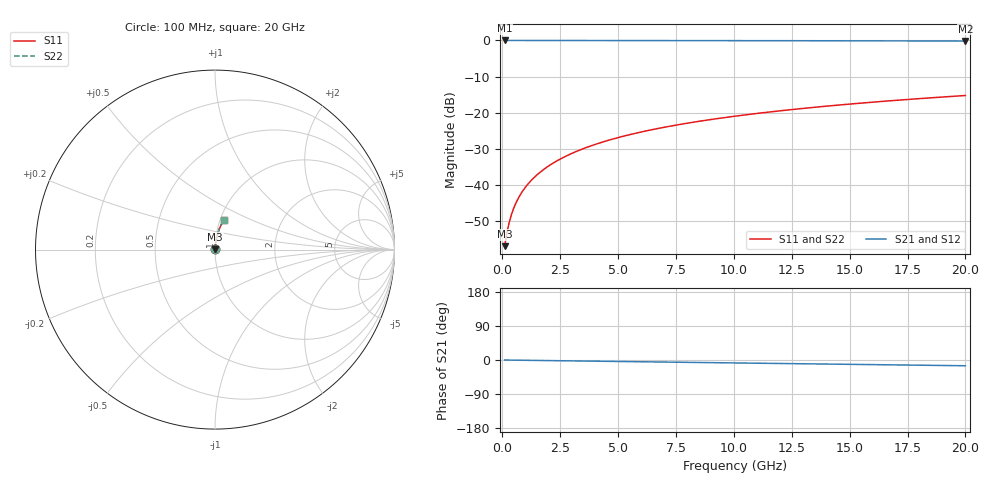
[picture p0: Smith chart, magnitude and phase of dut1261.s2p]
! Touchstone file exported from HFSS 2026.1.0
!  File:  C:/ffzhzh/LocalFiles/Ansys_Project_Files/temp_train_TMRDL_1261_1783164008_18472.aedt
!  Generated:  07:21:23 PM Jul  4, 2026
!  Design:  TMRDL
!  Project:  temp_train_TMRDL_1261_1783164008_18472
! Variables:
!  h_bsmrdl = 2um
!  h_ox = 20um
!  h_rdl = 5um
!  h_sub = 80um
!  h_tmrdl = 3.41um
!  h_tsv = 80um
!  h_via = 3um
!  l_bsmrdl = 300um
!  l_sub = 563.61um
!  l_tmrdl = 163.61um
!  m_sub = 200um
!  pitch = 53.54um
!  r_tsv = 6um
!  s_tmrdl = 10um
!  w_bsmrdl = 18um
!  w_sub = 500um
!  w_tmrdl = 21.15um
!  x_tsv_center1 = 174.185um
!  x_tsv_center2 = 492.185um
!  x_tsv_center3 = 676.945um
!  x_tsv_center4 = 994.945um
!  x_tsv_center5 = 1179.705um
!  x_tsv_center6 = 1497.705um
# GHz S MA R 50.000000
! Terminal data exported
! Port[1] = TM_RDL1_1_T1
! Port[2] = TM_RDL1_1_T2
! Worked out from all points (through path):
!   200 points, 100 MHz to 20 GHz, reference 50 ohm
!   highest |S21| = -0.01 dB at 100 MHz (marker M1); lowest = -0.2 dB at 20 GHz (marker M2)
!   group delay of S21, straight-line fit = 2.11 ps
!   lowest |S11| = -57.0 dB at 100 MHz (marker M3), VSWR 1.00, Z = 50.1 + j0.0968 ohm
!   |S11| at or under -10 dB: start of sweep to end of sweep
!   |S22| runs from -57.0 to -15.3 dB; largest |S21 - S12| = 4e-15
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0.1  0.001413 43.1  0.999 -0.1  0.999 -0.1  0.001413 43.1
! Gamma 0 0 0 0
! Port Impedance 50 0 50 0
0.2  0.002172 61.1  0.9989 -0.2  0.9989 -0.2  0.00217 61.0
0.3  0.003031 69.1  0.9989 -0.2  0.9989 -0.2  0.003027 69.0
0.4  0.003916 73.4  0.9988 -0.3  0.9988 -0.3  0.003912 73.3
0.5  0.004807 76.0  0.9988 -0.4  0.9988 -0.4  0.004804 76.0
0.6  0.0057 77.8  0.9988 -0.5  0.9988 -0.5  0.005697 77.8
0.8  0.007486 80.1  0.9987 -0.6  0.9987 -0.6  0.007484 80.1
1.1  0.01017 82.0  0.9987 -0.9  0.9987 -0.9  0.01017 82.0
1.5  0.01375 83.4  0.9986 -1.2  0.9986 -1.2  0.01375 83.4
1.8  0.01644 83.9  0.9985 -1.4  0.9985 -1.4  0.01644 83.9
2.1  0.01914 84.2  0.9984 -1.6  0.9984 -1.6  0.01914 84.2
2.7  0.02453 84.5  0.9982 -2.1  0.9982 -2.1  0.02453 84.5
3.5  0.0317 84.4  0.9979 -2.7  0.9979 -2.7  0.0317 84.4
4.2  0.03796 84.2  0.9976 -3.3  0.9976 -3.3  0.03796 84.2
5  0.04508 83.8  0.9972 -3.9  0.9972 -3.9  0.04508 83.8
5.9  0.05305 83.3  0.9966 -4.6  0.9966 -4.6  0.05305 83.3
6.8  0.06098 82.7  0.996 -5.3  0.996 -5.3  0.06098 82.7
8.3  0.0741 81.7  0.9948 -6.4  0.9948 -6.4  0.0741 81.7
10.1  0.08969 80.4  0.9932 -7.8  0.9932 -7.8  0.08969 80.4
13.4  0.1179 78.1  0.9897 -10.3  0.9897 -10.3  0.1179 78.1
16.7  0.1455 75.8  0.9856 -12.8  0.9856 -12.8  0.1455 75.8
20  0.1725 73.5  0.9809 -15.2  0.9809 -15.2  0.1725 73.4
